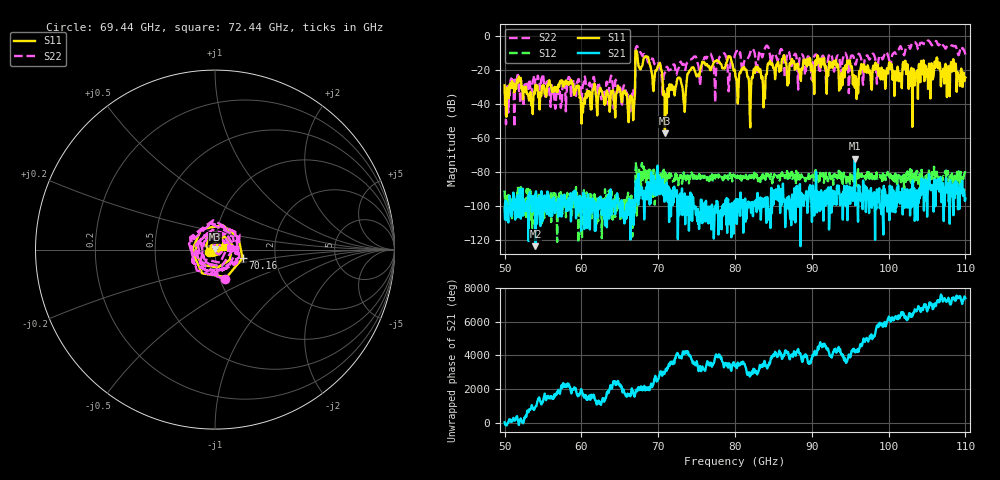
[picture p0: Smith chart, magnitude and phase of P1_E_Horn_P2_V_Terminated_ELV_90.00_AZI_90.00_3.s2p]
! 11/26/2026 10:27:12 AM
! C:\ANRITSUVNA\TEMP\TEMP.S2P
! CHANNEL.1
! TR.MEASUREMENT
! RAW.DATA
# HZ S RI R 50.0
! FREQ.HZ  S11RE  S11IM  S21RE  S21IM  S12RE  S12IM  S22RE  S22IM
!; PortSelection: Port_12
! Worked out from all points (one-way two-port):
!   1001 points, 50 GHz to 110 GHz, reference 50 ohm
!   highest |S21| = -72.22 dB at 95.6 GHz (marker M1); lowest = -123.9 dB at 54.02 GHz (marker M2)
!   lowest |S11| = -57.1 dB at 70.88 GHz (marker M3), VSWR 1.00, Z = 50 + j0.14 ohm
!   |S11| at or under -10 dB: start of sweep to 67.04 GHz; 67.25 GHz to end of sweep
!   |S22| runs from -53.5 to -2.4 dB; largest |S21 - S12| = 0.00023
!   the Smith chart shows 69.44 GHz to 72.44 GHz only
!   S11 on the Smith chart (normalised r, x): 69.44 GHz: 0.93, -0.02; 70.16 GHz: 1.35, -0.13; 72.44 GHz: 1.10, +0.03
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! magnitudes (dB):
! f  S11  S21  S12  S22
! 50 GHz  -29.0  -101.5  -91.0  -34.1
! 54.02 GHz  -28.5  -123.9  -99.1  -31.8
! 58.64 GHz  -25.7  -109.2  -92.9  -36.1
! 60.02 GHz  -51.5  -96.7  -116.9  -37.6
! 66.32 GHz  -36.5  -97.0  -99.7  -42.2
! 67.34 GHz  -14.0  -86.9  -82.3  -6.4
! 69.44 GHz  -28.6  -93.5  -78.6  -15.4
! 70.04 GHz  -17.0  -92.7  -83.2  -15.9
! 70.16 GHz  -15.9  -83.0  -82.0  -18.1
! 70.88 GHz  -57.1  -94.9  -80.3  -21.4
! 72.44 GHz  -26.1  -90.8  -81.6  -21.3
! 77.48 GHz  -14.7  -99.9  -81.7  -27.0
! 78.5 GHz  -18.6  -99.1  -82.3  -10.1
! 79.22 GHz  -11.6  -108.4  -83.4  -28.9
! 80 GHz  -20.8  -109.9  -82.2  -11.0
! 81.98 GHz  -53.8  -100.5  -83.2  -9.7
! 84.56 GHz  -14.4  -102.7  -84.0  -11.2
! 90.02 GHz  -16.7  -109.6  -82.9  -25.5
! 94.88 GHz  -14.1  -88.6  -81.9  -25.4
! 95.6 GHz  -30.2  -72.2  -94.8  -14.9
! 100 GHz  -16.1  -94.0  -83.0  -13.4
! 110 GHz  -24.3  -95.7  -77.7  -11.0
